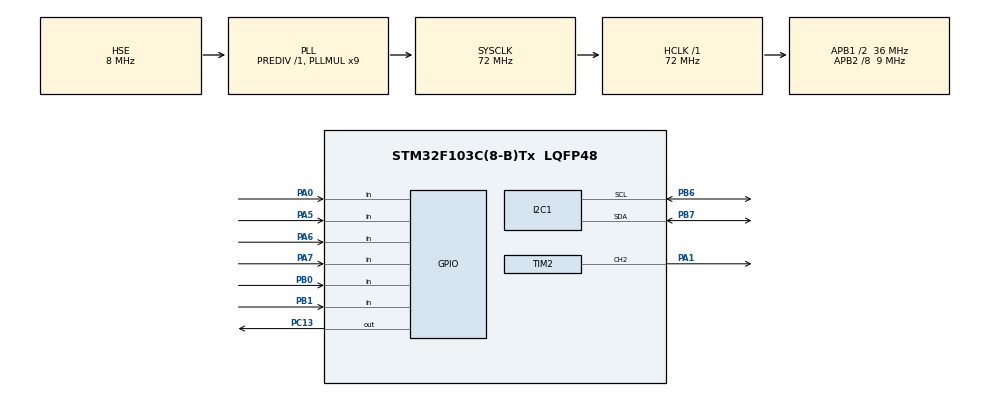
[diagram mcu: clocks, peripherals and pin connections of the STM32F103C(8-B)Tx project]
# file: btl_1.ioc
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I2C1.I2C_Mode=I2C_Fast
Mcu.Family=STM32F1
Mcu.Name=STM32F103C(8-B)Tx
Mcu.Package=LQFP48
NVIC.PriorityGroup=NVIC_PRIORITYGROUP_4
PA0-WKUP.Signal=GPIO_Input
PA1.Signal=S_TIM2_CH2
PA13.Mode=Serial_Wire
PA13.Signal=SYS_JTMS-SWDIO
PA14.Mode=Serial_Wire
PA14.Signal=SYS_JTCK-SWCLK
PA5.Signal=GPIO_Input
PA6.Signal=GPIO_Input
PA7.Signal=GPIO_Input
PB0.Signal=GPIO_Input
PB1.Signal=GPIO_Input
PB6.Mode=I2C
PB6.Signal=I2C1_SCL
PB7.Mode=I2C
PB7.Signal=I2C1_SDA
PC13-TAMPER-RTC.Signal=GPIO_Output
PD0-OSC_IN.Mode=HSE-External-Oscillator
PD0-OSC_IN.Signal=RCC_OSC_IN
PD1-OSC_OUT.Mode=HSE-External-Oscillator
PD1-OSC_OUT.Signal=RCC_OSC_OUT
ProjectManager.HeapSize=0x200
ProjectManager.StackSize=0x400
ProjectManager.TargetToolchain=STM32CubeIDE
RCC.AHBFreq_Value=72000000
RCC.APB1CLKDivider=RCC_HCLK_DIV2
RCC.APB1Freq_Value=36000000
RCC.APB1TimFreq_Value=72000000
RCC.APB2CLKDivider=RCC_HCLK_DIV8
RCC.APB2Freq_Value=9000000
RCC.APB2TimFreq_Value=18000000
RCC.HCLKFreq_Value=72000000
RCC.PLLMUL=RCC_PLL_MUL9
RCC.PLLSourceVirtual=RCC_PLLSOURCE_HSE
RCC.SYSCLKFreq_VALUE=72000000
RCC.SYSCLKSource=RCC_SYSCLKSOURCE_PLLCLK
RCC.USBFreq_Value=72000000
SH.S_TIM2_CH2.0=TIM2_CH2,PWM Generation2 CH2
TIM2.Channel-PWM\ Generation2\ CH2=TIM_CHANNEL_2
TIM2.Period=254
TIM2.Prescaler=429
VP_TIM2_VS_ClockSourceINT.Mode=Internal
board=custom

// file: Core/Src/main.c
/* USER CODE BEGIN Header */
/**
  ******************************************************************************
  * @file           : main.c
  * @brief          : Main program body
  ******************************************************************************
  * @attention
  *
  * Copyright (c) 2023 STMicroelectronics.
  * All rights reserved.
  *
  * This software is licensed under terms that can be found in the LICENSE file
  * in the root directory of this software component.
  * If no LICENSE file comes with this software, it is provided AS-IS.
  *
  ******************************************************************************
  */
/* USER CODE END Header */
#include "main.h"
#include "fonts.h"
#include "ssd1306.h"

/* USER CODE BEGIN PTD */
char scoreText[10];
const short MARGIN_TOP = 2;
const short MARGIN_LEFT = 1;
const short SIZE = 4;
const short TYPES = 6;
short pieceX, pieceY;
short piece[2][4];
int interval = 500, score;
/* USER CODE END Includes */
int gameplay = 1;
uint32_t timer,delayer;
uint8_t b1, b2, b3;
uint16_t currentType, nextType, rotation;
uint8_t deepSleepFlag = 0;
uint8_t grid[25][12];

const char mantex_logo [] = {
		0xff, 0xff, 0xff, 0xff, 0xff, 0xff, 0xff, 0xff, 0xff, 0xff, 0xff, 0xff, 0xff, 0xff, 0xff, 0xff,
		0xc0, 0xff, 0xff, 0xff, 0xe0, 0x00, 0x00, 0x00, 0x00, 0x00, 0x00, 0x00, 0x00, 0x00, 0x7f, 0xff,
		0xff, 0xc0, 0xff, 0xff, 0xf8, 0x00, 0x00, 0x00, 0x00, 0x00, 0x00, 0x00, 0x00, 0x00, 0x00, 0x01,
		0xff, 0xff, 0xc0, 0xff, 0xff, 0xe0, 0x00, 0x00, 0x00, 0x00, 0x00, 0x00, 0x00, 0x00, 0x00, 0x00,
		0x00, 0x3f, 0xff, 0xc0, 0xff, 0xff, 0x00, 0x00, 0x00, 0x00, 0x00, 0x00, 0x00, 0x00, 0x00, 0x00,
		0x00, 0x00, 0x07, 0xff, 0xc0, 0xff, 0xfc, 0x00, 0x00, 0x00, 0x00, 0x00, 0x00, 0x00, 0x00, 0x00,
		0x00, 0x00, 0x00, 0x01, 0xff, 0xc0, 0xff, 0x00, 0x00, 0x00, 0x00, 0x00, 0x00, 0x00, 0x00, 0x00,
		0x00, 0x00, 0x00, 0x00, 0x00, 0x0f, 0xc0, 0xfe, 0x00, 0x00, 0x00, 0x03, 0xf8, 0x1f, 0xfc, 0x7f,
		0xe3, 0xff, 0x3f, 0xf8, 0x00, 0x00, 0x0f, 0xc0, 0xfc, 0x00, 0x3f, 0xff, 0xff, 0xf8, 0x1f, 0xfc,
		0x7f, 0xe3, 0xff, 0x3f, 0xf8, 0x00, 0x00, 0x07, 0xc0, 0xfc, 0x00, 0x3f, 0xff, 0xff, 0xf8, 0x1f,
		0xfc, 0x7f, 0xe3, 0xff, 0x3f, 0xf8, 0x00, 0x00, 0x07, 0xc0, 0xfc, 0x00, 0x3f, 0xff, 0xff, 0xf8,
		0x1f, 0xfc, 0xff, 0xe7, 0xff, 0x3f, 0xf8, 0x00, 0x00, 0x03, 0xc0, 0xfc, 0x00, 0x3f, 0xff, 0xff,
		0xf8, 0x1f, 0xf8, 0x00, 0x03, 0xff, 0x1f, 0xf8, 0x00, 0x00, 0x03, 0xc0, 0xfc, 0x00, 0x00, 0x00,
		0x03, 0xf8, 0x00, 0x00, 0x00, 0x00, 0x00, 0x00, 0x00, 0x00, 0x00, 0x01, 0xc0, 0xfc, 0x00, 0x00,
		0x00, 0x03, 0xf8, 0x1f, 0xfc, 0xff, 0xe7, 0xff, 0x3f, 0xf8, 0x00, 0x00, 0x01, 0xc0, 0xfc, 0x00,
		0x00, 0x00, 0x03, 0xf8, 0x1f, 0xfc, 0x7f, 0xe3, 0xff, 0x3f, 0xf8, 0x00, 0x00, 0x01, 0xc0, 0xf8,
		0x00, 0x00, 0x00, 0x00, 0x00, 0x1f, 0xfc, 0x7f, 0xe3, 0xff, 0x3f, 0xf8, 0x00, 0x00, 0x01, 0xc0,
		0xf8, 0x00, 0x0f, 0xff, 0xff, 0xf8, 0x1f, 0xfc, 0x7f, 0xe3, 0xff, 0x3f, 0xf8, 0x00, 0x00, 0x01,
		0xc0, 0xf8, 0x00, 0x1f, 0xff, 0xff, 0xf8, 0x1f, 0xfc, 0x7f, 0xe3, 0xff, 0x3f, 0xf8, 0x00, 0x00,
		0x01, 0xc0, 0xf8, 0x00, 0x3f, 0xff, 0xff, 0xf8, 0x1f, 0xfc, 0xff, 0xe7, 0xff, 0x3f, 0xf8, 0x00,
		0x00, 0x01, 0xc0, 0xf8, 0x00, 0x3f, 0x07, 0xe3, 0xf8, 0x00, 0x00, 0x00, 0x00, 0x00, 0x00, 0x00,
		0x00, 0x00, 0x01, 0xc0, 0xf8, 0x00, 0x3f, 0x01, 0xe3, 0xf8, 0x1f, 0xfc, 0x7f, 0xe3, 0xff, 0x00,
		0x00, 0x00, 0x00, 0x01, 0xc0, 0xf8, 0x00, 0x3f, 0x00, 0x63, 0xf8, 0x1f, 0xfc, 0x7f, 0xe3, 0xff,
		0x00, 0x00, 0x00, 0x00, 0x01, 0xc0, 0xf8, 0x00, 0x3f, 0x00, 0x03, 0xf8, 0x1f, 0xfc, 0x7f, 0xe3,
		0xff, 0x00, 0x00, 0x00, 0x00, 0x01, 0xc0, 0xf8, 0x00, 0x3f, 0x00, 0x03, 0xf8, 0x1f, 0xfc, 0xff,
		0xe3, 0xff, 0x00, 0x00, 0x00, 0x00, 0x01, 0xc0, 0xf8, 0x00, 0x3e, 0x00, 0x00, 0x00, 0x1f, 0xfc,
		0xff, 0xe3, 0xff, 0x00, 0x00, 0x00, 0x00, 0x01, 0xc0, 0xf8, 0x00, 0x30, 0x00, 0x03, 0xf8, 0x00,
		0x00, 0x00, 0x00, 0x00, 0x00, 0x00, 0x00, 0x00, 0x01, 0xc0, 0xf8, 0x00, 0x20, 0x00, 0x03, 0xf8,
		0x1f, 0xfc, 0x00, 0x00, 0x00, 0x00, 0x00, 0x00, 0x00, 0x01, 0xc0, 0xf8, 0x00, 0x00, 0x00, 0x03,
		0xf8, 0x1f, 0xfc, 0x00, 0x00, 0x00, 0x00, 0x00, 0x00, 0x00, 0x01, 0xc0, 0xf8, 0x00, 0x3f, 0xff,
		0xff, 0xf8, 0x1f, 0xfc, 0x00, 0x00, 0x00, 0x00, 0x00, 0x00, 0x00, 0x01, 0xc0, 0xf8, 0x00, 0x3f,
		0xff, 0xff, 0xf8, 0x1f, 0xfc, 0x00, 0x00, 0x00, 0x00, 0x00, 0x00, 0x00, 0x01, 0xc0, 0xf8, 0x00,
		0x3f, 0xff, 0xff, 0xf8, 0x1f, 0xfc, 0x00, 0x00, 0x00, 0x00, 0x00, 0x00, 0x00, 0x01, 0xc0, 0xf8,
		0x00, 0x3f, 0xff, 0xff, 0xf8, 0x1f, 0xfc, 0x00, 0x00, 0x00, 0x00, 0x00, 0x00, 0x00, 0x01, 0xc0,
		0xf8, 0x00, 0x00, 0x00, 0x00, 0x00, 0x00, 0x00, 0x00, 0x00, 0x00, 0x00, 0x00, 0x00, 0x00, 0x01,
		0xc0, 0xf8, 0x00, 0x3f, 0xff, 0xff, 0xf8, 0x00, 0x00, 0x00, 0x00, 0x00, 0x00, 0x00, 0x00, 0x00,
		0x01, 0xc0, 0xf8, 0x00, 0x3f, 0xff, 0xff, 0xf8, 0x00, 0x00, 0x00, 0x00, 0x00, 0x00, 0x00, 0x00,
		0x00, 0x01, 0xc0, 0xf8, 0x00, 0x3f, 0xff, 0xff, 0xf8, 0x00, 0x00, 0x00, 0x00, 0x00, 0x00, 0x00,
		0x00, 0x00, 0x01, 0xc0, 0xf8, 0x00, 0x3f, 0xff, 0xff, 0xf8, 0x00, 0x00, 0x00, 0x00, 0x00, 0x00,
		0x00, 0x00, 0x00, 0x01, 0xc0, 0xf8, 0x00, 0x00, 0x00, 0xc3, 0xf8, 0x00, 0x00, 0x00, 0x00, 0x00,
		0x00, 0x00, 0x00, 0x00, 0x01, 0xc0, 0xf8, 0x00, 0x00, 0x03, 0xf3, 0xf8, 0x00, 0x00, 0x00, 0x00,
		0x00, 0x00, 0x00, 0x00, 0x00, 0x01, 0xc0, 0xf8, 0x00, 0x00, 0x1f, 0xff, 0xf8, 0x10, 0x00, 0x00,
		0x00, 0x00, 0x00, 0x00, 0x00, 0x00, 0x01, 0xc0, 0xf8, 0x00, 0x00, 0xff, 0xff, 0xf8, 0x1f, 0xfc,
		0xff, 0xe3, 0xff, 0x00, 0x00, 0x00, 0x00, 0x01, 0xc0, 0xf8, 0x00, 0x07, 0xff, 0xff, 0xf8, 0x1f,
		0xfc, 0xff, 0xe3, 0xff, 0x00, 0x00, 0x00, 0x00, 0x01, 0xc0, 0xf8, 0x00, 0x0f, 0xff, 0xff, 0xf8,
		0x1f, 0xfc, 0xff, 0xe3, 0xff, 0x00, 0x00, 0x00, 0x00, 0x01, 0xc0, 0xf8, 0x00, 0x3f, 0xfe, 0x1f,
		0xe0, 0x1f, 0xfc, 0xff, 0xe3, 0xff, 0x00, 0x00, 0x00, 0x00, 0x01, 0xc0, 0xf8, 0x00, 0x3f, 0xe0,
		0x00, 0x00, 0x1f, 0xfc, 0xff, 0xe3, 0xff, 0x00, 0x00, 0x00, 0x00, 0x01, 0xc0, 0xf8, 0x00, 0x00,
		0x00, 0x00, 0x00, 0x00, 0x00, 0x00, 0x00, 0x00, 0x00, 0x00, 0x00, 0x00, 0x01, 0xc0, 0xf8, 0x00,
		0x3f, 0xff, 0xff, 0xf8, 0x10, 0x00, 0xff, 0xe0, 0x00, 0x00, 0x00, 0x00, 0x00, 0x01, 0xc0, 0xf8,
		0x00, 0x00, 0x00, 0x00, 0x00, 0x10, 0x00, 0xff, 0xe0, 0x00, 0x00, 0x00, 0x00, 0x00, 0x01, 0xc0,
		0xf8, 0x00, 0x3f, 0x00, 0x1f, 0xe0, 0x10, 0x00, 0xff, 0xe0, 0x00, 0x00, 0x00, 0x00, 0x00, 0x01,
		0xc0, 0xf8, 0x00, 0x3f, 0x00, 0x7f, 0xf8, 0x10, 0x00, 0xff, 0xe0, 0x00, 0x00, 0x00, 0x00, 0x00,
		0x01, 0xc0, 0xfc, 0x00, 0x3f, 0x00, 0xff, 0xf8, 0x1f, 0xf8, 0xff, 0xe0, 0x00, 0x00, 0x00, 0x00,
		0x00, 0x01, 0xc0, 0xfc, 0x00, 0x3f, 0x07, 0xff, 0xf8, 0x00, 0x00, 0x00, 0x00, 0x00, 0x00, 0x00,
		0x00, 0x00, 0x01, 0xc0, 0xfc, 0x00, 0x3f, 0x1f, 0xff, 0xf8, 0x00, 0x00, 0x00, 0x00, 0x00, 0x00,
		0x00, 0x00, 0x00, 0x01, 0xc0, 0xfc, 0x00, 0x3f, 0xff, 0xf3, 0xf8, 0x1f, 0xf8, 0x7f, 0xe3, 0xff,
		0x00, 0x00, 0x00, 0x00, 0x03, 0xc0, 0xfc, 0x00, 0x3f, 0xff, 0x83, 0xf8, 0x10, 0x00, 0x00, 0x00,
		0x01, 0x00, 0x00, 0x00, 0x00, 0x03, 0xc0, 0xfc, 0x00, 0x3f, 0xff, 0x03, 0xf8, 0x10, 0x00, 0x00,
		0x00, 0x01, 0x00, 0x00, 0x00, 0x00, 0x07, 0xc0, 0xfc, 0x00, 0x1f, 0xfc, 0x00, 0xf8, 0x10, 0x00,
		0x00, 0x00, 0x01, 0x00, 0x00, 0x00, 0x00, 0x0f, 0xc0, 0xfe, 0x00, 0x0f, 0xf0, 0x00, 0x18, 0x10,
		0x00, 0x00, 0x00, 0x01, 0x00, 0x00, 0x00, 0x00, 0x0f, 0xc0, 0xff, 0x00, 0x00, 0x00, 0x00, 0x00,
		0x00, 0x00, 0x00, 0x00, 0x00, 0x00, 0x00, 0x00, 0x00, 0x0f, 0xc0, 0xff, 0xfe, 0x00, 0x00, 0x00,
		0x00, 0x00, 0x00, 0x00, 0x00, 0x00, 0x00, 0x00, 0x00, 0x03, 0xff, 0xc0, 0xff, 0xff, 0x80, 0x00,
		0x00, 0x00, 0x00, 0x00, 0x00, 0x00, 0x00, 0x00, 0x00, 0x00, 0x1f, 0xff, 0xc0, 0xff, 0xff, 0xe0,
		0x00, 0x00, 0x00, 0x00, 0x00, 0x00, 0x00, 0x00, 0x00, 0x00, 0x00, 0xff, 0xff, 0xc0, 0xff, 0xff,
		0xfe, 0x00, 0x00, 0x00, 0x00, 0x00, 0x00, 0x00, 0x00, 0x00, 0x00, 0x07, 0xff, 0xff, 0xc0, 0xff,
		0xff, 0xff, 0xff, 0xff, 0xff, 0xff, 0xff, 0xff, 0xff, 0xff, 0xff, 0xff, 0xff, 0xff, 0xff, 0xc0,
		0xff, 0xff, 0xff, 0xff, 0xff, 0xff, 0xff, 0xff, 0xff, 0xff, 0xff, 0xff, 0xff, 0xff, 0xff, 0xff,
		0xc0
	};

const char pieces_S_l[2][2][4] = {{
                                    {0, 0, 1, 1}, {0, 1, 1, 2}
                                   },
                                   {
                                    {0, 1, 1, 2}, {1, 1, 0, 0}
                                   }};
const char pieces_S_r[2][2][4]={{
                                  {1, 1, 0, 0}, {0, 1, 1, 2}
                                 },
                                 {
                                  {0, 1, 1, 2}, {0, 0, 1, 1}
                                 }};

const char pieces_L_l[4][2][4] = {{
                                  {0, 0, 0, 1}, {0, 1, 2, 2}
                                 },
                                 {
                                  {0, 1, 2, 2}, {1, 1, 1, 0}
                                 },
                                 {
                                  {0, 1, 1, 1}, {0, 0, 1, 2}
                                 },
                                 {
                                  {0, 0, 1, 2}, {1, 0, 0, 0}
                                 }};
const char pieces_Sq[1][2][4] = {{
                                  {0, 1, 0, 1}, {0, 0, 1, 1}
                                 }};
const char pieces_T[4][2][4] = {{
                                  {0, 0, 1, 0},{0, 1, 1, 2}
                                 },
                                 {
                                  {0, 1, 1, 2},{1, 0, 1, 1}
                                 },
                                 {
                                  {1, 0, 1, 1},{0, 1, 1, 2}
                                 },
                                 {
                                  {0, 1, 1, 2},{0, 0, 1, 0}
                                 }};
const char pieces_l[2][2][4] = {{
                                  {0, 1, 2, 3}, {0, 0, 0, 0}
                                 },
                                 {
                                  {0, 0, 0, 0}, {0, 1, 2, 3}
                                 }};

void copyPiece(short piece[2][4], short type, short rotation){
  switch(type){
  case 0: //L_l
    for(short i = 0; i < 4; i++){
      piece[0][i] = pieces_L_l[rotation][0][i];
      piece[1][i] = pieces_L_l[rotation][1][i];
    }
    break;
   case 1: //S_l
    for(short i = 0; i < 4; i++){
      piece[0][i] = pieces_S_l[rotation][0][i];
      piece[1][i] = pieces_S_l[rotation][1][i];
    }
    break;
   case 2: //S_r
    for(short i = 0; i < 4; i++){
      piece[0][i] = pieces_S_r[rotation][0][i];
      piece[1][i] = pieces_S_r[rotation][1][i];
    }
    break;
   case 3: //Sq
    for(short i = 0; i < 4; i++){
      piece[0][i] = pieces_Sq[0][0][i];
      piece[1][i] = pieces_Sq[0][1][i];
    }
    break;
    case 4: //T
    for(short i = 0; i < 4; i++){
      piece[0][i] = pieces_T[rotation][0][i];
      piece[1][i] = pieces_T[rotation][1][i];
    }
    break;
    case 5: //l
    for(short i = 0; i < 4; i++){
      piece[0][i] = pieces_l[rotation][0][i];
      piece[1][i] = pieces_l[rotation][1][i];
    }
    break;
  }
}
void drawLayout(){
	SSD1306_DrawLine(110, 0, 110, SSD1306_HEIGHT, SSD1306_COLOR_WHITE);
	SSD1306_DrawRectangle(0, 0, SSD1306_WIDTH, SSD1306_HEIGHT, SSD1306_COLOR_WHITE);
	drawNextPiece();

}
void drawPiece(short type, short rotation, short x, short y){
  for(short i = 0; i < 4; i++)
	  SSD1306_DrawFilledRectangle(MARGIN_LEFT + (SIZE + 1)*(x + piece[0][i]), MARGIN_TOP + (SIZE + 1)*(y + piece[1][i]), SIZE, SIZE, SSD1306_COLOR_WHITE);
}
void drawGrid(){
  for(short x = 0; x < 25; x++)
    for(short y = 0; y < 12; y++)
      if(grid[x][y])
    	  SSD1306_DrawFilledRectangle(MARGIN_LEFT + (SIZE + 1)*x, MARGIN_TOP + (SIZE + 1)*y, SIZE, SIZE, SSD1306_COLOR_WHITE);
}
void drawNextPiece(){
  short nPiece[2][4];
  copyPiece(nPiece, nextType, 0);
  for(short i = 0; i < 4; i++)
	  SSD1306_DrawFilledRectangle(112 + 3*nPiece[0][i], 8 + 3*nPiece[1][i], 3, 3, SSD1306_COLOR_WHITE);
}
void refresh(){
	SSD1306_Fill(0);
    drawLayout();
    drawGrid();
    drawPiece(currentType, 0, pieceX, pieceY);
    SSD1306_UpdateScreen();
}
void generate(){
  currentType = nextType;
  nextType = customRandom();
  if(currentType != 5)
    pieceY = customRandomd();
  else
	  pieceY = customRandomd();
  pieceX = 18;
  rotation = 0;
  copyPiece(piece, currentType, rotation);
}
int customRandom() {
    uint32_t tick = HAL_GetTick();
    return (uint16_t)((tick / 1000) % 6);
}
int customRandomd() {
    uint32_t tick = HAL_GetTick();
    return (uint16_t)((tick / 1000) % 9);
}
int nextHorizontalCollision(short piece[2][4], int amount){
  for(short i = 0; i < 4; i++){
    short newX = pieceX + piece[0][i] + amount;
    short newY = pieceY + piece[1][i];
    if(grid[newX][newY]|| newY<=-1)
      return 1;
  }
  return 0;
}
int nextCollision() {
  for (short i = 0; i < 4; i++) {
    short y = pieceY + piece[1][i];
    short x =  pieceX + piece[0][i]-1;
    if (x < 0 || grid[x][y]) {
      return 1; // true
    }
  }
  return 0; // false
}
short getMaxRotation(short type){
  if(type == 1 || type == 2 || type == 5)
    return 2;
  else if(type == 0 || type == 4)
    return 4;
  else if(type == 3)
    return 1;
  else
    return 0;
}
int canRotate(short rotation){
  short piece[2][4];
  copyPiece(piece, currentType, rotation);
  return !nextHorizontalCollision(piece, 0);
}
void checkLines(){
  int full;
  for(short x = 19; x >= 0; x--){
    full = 1;
    for(short y = 0; y < 12; y++){
      full = full && grid[x][y];
    }
    if(full==1){
		breakLine(x);
		x--;
    }
  }
}
void hiendiem (int number) {
		SSD1306_Clear();
		SSD1306_GotoXY (0,20);
		SSD1306_Puts ("Score: ", &Font_11x18, 1);
		SSD1306_GotoXY (70, 20);
		char string[20];
		snprintf(string, sizeof(string), "%d", number);
		SSD1306_Puts (string, &Font_11x18, 1);
		SSD1306_GotoXY (0,0);
		SSD1306_Puts ("GAME", &Font_11x18, 1);
		SSD1306_GotoXY (50, 0);
		SSD1306_Puts ("OVER ", &Font_11x18, 1);
		SSD1306_UpdateScreen();
}

void breakLine(short line){
	for(short y = 0; y < 12; y++)
	{
		grid[y][0] = 0;
	}
	for (int x = line + 1; x < 20; x++)
	{
		for (char y = 2; y < 12; y++)
		{
		 if (grid[x][y]) grid[x-1][y] = 1;
		   else grid[x-1][y] = 0;
		}
	}
	  SSD1306_InvertDisplay(1);
	  SSD1306_InvertDisplay(0);
	  score = score + 10;
}
int checkCollision() {
	  for (int y = 0; y < 12; y++) {
	    if (grid[18][y] == 1) {
	      // Phát hiện một khối chạm lưới ở trên
	      return 1;
	    }
	  }
	  return 0;
	}
void restartGame() {
    // Khởi tạo lại các biến cần thiết
    score = 0;
    for (short x = 0; x < 25; x++)
        for (short y = 0; y < 13; y++)
            grid[x][y] = 0;
    generate();
    gameplay = 1;
}

/* USER CODE END PTD */

I2C_HandleTypeDef hi2c1;

TIM_HandleTypeDef htim2;

void SystemClock_Config(void);
static void MX_GPIO_Init(void);
static void MX_I2C1_Init(void);
static void MX_TIM2_Init(void);

int main(void)
{

  /* MCU Configuration--------------------------------------------------------*/

  /* Reset of all peripherals, Initializes the Flash interface and the Systick. */
  HAL_Init();

  /* Configure the system clock */
  SystemClock_Config();

  /* Initialize all configured peripherals */
  MX_GPIO_Init();
  MX_I2C1_Init();
  MX_TIM2_Init();
  /* USER CODE BEGIN 2 */
  timer = HAL_GetTick();
  HAL_TIM_PWM_Start(&htim2, TIM_CHANNEL_2);
  SSD1306_Clear();
  SSD1306_Init();
  SSD1306_DrawBitmap(0,0,mantex_logo, 130, 65,SSD1306_COLOR_WHITE);
  SSD1306_UpdateScreen();
  HAL_Delay(10000);
  SSD1306_Clear();
  drawLayout();
  nextType = customRandom();
  generate();
  HAL_TIM_PWM_Start(&htim2, TIM_CHANNEL_2);
  /* USER CODE END 2 */

  /* Infinite loop */
  /* USER CODE BEGIN WHILE */
  while (1)
  {

	  if(HAL_GetTick()-timer>interval)
	  {
		__HAL_TIM_SET_AUTORELOAD(&htim2, 0);
		__HAL_TIM_SET_COMPARE(&htim2, TIM_CHANNEL_2, 0);
		if (checkCollision())
		{
		    int x;
		    for(x = 6; x < 8; x = x + 1)
		    {
		        __HAL_TIM_SET_AUTORELOAD(&htim2, x * 70);
		        __HAL_TIM_SET_COMPARE(&htim2, TIM_CHANNEL_2, x * 60);
		        HAL_Delay(300);
		    }
		// Kết thúc trò chơi
		      hiendiem(score) ;
		      HAL_Delay (5000);
		      restartGame();
		      SSD1306_Clear();
		      SSD1306_DrawBitmap(0,0,mantex_logo, 130, 65,SSD1306_COLOR_WHITE);
		      SSD1306_UpdateScreen();
		      HAL_Delay(2000);
		      SSD1306_Clear();
		}
		else
		{
			checkLines();
			refresh();
			if(nextCollision()==1)
			{
			for(short i = 0; i < 4; i++)
			grid[pieceX + piece[0][i]][pieceY + piece[1][i]] = 1;
			generate();
			}
			else
			pieceX--;
			timer = HAL_GetTick();
		}
	  }
	  if (HAL_GPIO_ReadPin(GPIOA, GPIO_PIN_0) == GPIO_PIN_SET)
	  {
		  if (deepSleepFlag == 0)
		  {
			SSD1306_Clear();
			// Chuyển vào chế độ deep sleep
			HAL_GPIO_WritePin(GPIOC, GPIO_PIN_13, 1);
			HAL_SuspendTick();
			HAL_PWR_EnterSLEEPMode(PWR_MAINREGULATOR_ON, PWR_SLEEPENTRY_WFI);
			HAL_ResumeTick();
			deepSleepFlag = 1;
		  }
		  else
		  {
			HAL_GPIO_WritePin(GPIOC, GPIO_PIN_13, 0);
			deepSleepFlag = 0;
		  }
	  }

	  if(HAL_GPIO_ReadPin(GPIOB, GPIO_PIN_1)==GPIO_PIN_SET)
	  {
		if(b1==1)
		{
			if(!nextHorizontalCollision(piece, -1))
			{
			    int x;
			    for(x = 4; x < 5; x = x + 1)
			    {
			        __HAL_TIM_SET_AUTORELOAD(&htim2, x * 70);
			        __HAL_TIM_SET_COMPARE(&htim2, TIM_CHANNEL_2, x * 60);
			        HAL_Delay(10);
			    }
				if (pieceY>0){
					pieceY--;
				refresh();
				}
				else
					refresh();
			}
		b1 = 0;
		}
	  }
	  else
	  {
		b1 = 1;
	  }

	  if(HAL_GPIO_ReadPin(GPIOB, GPIO_PIN_0)==GPIO_PIN_SET)
	  {
		if(b2==1)
		{
			if(!nextHorizontalCollision(piece, 1))
			{
			    int x;
			    for(x = 4; x < 5; x = x + 1)
			    {
			        __HAL_TIM_SET_AUTORELOAD(&htim2, x * 70);
			        __HAL_TIM_SET_COMPARE(&htim2, TIM_CHANNEL_2, x * 60);
			        HAL_Delay(10);
			    }
				if (pieceY<11){
				pieceY++;
				refresh();
				}
				else
				refresh();
			}
		b2 = 0;
		}
	  }
	  else
	  {
		b2 = 1;
	  }
//	  if(HAL_GPIO_ReadPin(GPIOA, GPIO_PIN_7)==GPIO_PIN_SET)
//	  {
//	    int x;
//	    for(x = 4; x < 5; x = x + 1)
//	    {
//	        __HAL_TIM_SET_AUTORELOAD(&htim2, x * 70);
//	        __HAL_TIM_SET_COMPARE(&htim2, TIM_CHANNEL_2, x * 60);
//	        HAL_Delay(10);
//	    }
//	    interval = 20;
//	  }
//	  else
//	  {
//	    interval = 500;
//	  }
	  if(HAL_GPIO_ReadPin(GPIOA, GPIO_PIN_6)==GPIO_PIN_SET){
	    if(b3==1){
		    int x;
		    for(x = 4; x < 5; x = x + 1)
		    {
		        __HAL_TIM_SET_AUTORELOAD(&htim2, x * 70);
		        __HAL_TIM_SET_COMPARE(&htim2, TIM_CHANNEL_2, x * 60);
		        HAL_Delay(10);
		    }
	      if(rotation == getMaxRotation(currentType) - 1 && canRotate(0)){
	        rotation = 0;
	      }else if(canRotate(rotation + 1)){
	        rotation++;
	      }
	      copyPiece(piece, currentType, rotation);
	      refresh();
	      b3 = 0;
	      timer = HAL_GetTick();
	    }
	  }else if(HAL_GetTick() - delayer > 50){
	    b3 = 1;
	  }
    /* USER CODE END WHILE */

  }
}

void SystemClock_Config(void)
{
  RCC_OscInitTypeDef RCC_OscInitStruct = {0};
  RCC_ClkInitTypeDef RCC_ClkInitStruct = {0};

  /** Initializes the RCC Oscillators according to the specified parameters
  * in the RCC_OscInitTypeDef structure.
  */
  RCC_OscInitStruct.OscillatorType = RCC_OSCILLATORTYPE_HSE;
  RCC_OscInitStruct.HSEState = RCC_HSE_ON;
  RCC_OscInitStruct.HSEPredivValue = RCC_HSE_PREDIV_DIV1;
  RCC_OscInitStruct.HSIState = RCC_HSI_ON;
  RCC_OscInitStruct.PLL.PLLState = RCC_PLL_ON;
  RCC_OscInitStruct.PLL.PLLSource = RCC_PLLSOURCE_HSE;
  RCC_OscInitStruct.PLL.PLLMUL = RCC_PLL_MUL9;
  if (HAL_RCC_OscConfig(&RCC_OscInitStruct) != HAL_OK)
  {
    Error_Handler();
  }

  /** Initializes the CPU, AHB and APB buses clocks
  */
  RCC_ClkInitStruct.ClockType = RCC_CLOCKTYPE_HCLK|RCC_CLOCKTYPE_SYSCLK
                              |RCC_CLOCKTYPE_PCLK1|RCC_CLOCKTYPE_PCLK2;
  RCC_ClkInitStruct.SYSCLKSource = RCC_SYSCLKSOURCE_PLLCLK;
  RCC_ClkInitStruct.AHBCLKDivider = RCC_SYSCLK_DIV1;
  RCC_ClkInitStruct.APB1CLKDivider = RCC_HCLK_DIV2;
  RCC_ClkInitStruct.APB2CLKDivider = RCC_HCLK_DIV8;

  if (HAL_RCC_ClockConfig(&RCC_ClkInitStruct, FLASH_LATENCY_2) != HAL_OK)
  {
    Error_Handler();
  }
}

static void MX_I2C1_Init(void)
{

  hi2c1.Instance = I2C1;
  hi2c1.Init.ClockSpeed = 400000;
  hi2c1.Init.DutyCycle = I2C_DUTYCYCLE_2;
  hi2c1.Init.OwnAddress1 = 0;
  hi2c1.Init.AddressingMode = I2C_ADDRESSINGMODE_7BIT;
  hi2c1.Init.DualAddressMode = I2C_DUALADDRESS_DISABLE;
  hi2c1.Init.OwnAddress2 = 0;
  hi2c1.Init.GeneralCallMode = I2C_GENERALCALL_DISABLE;
  hi2c1.Init.NoStretchMode = I2C_NOSTRETCH_DISABLE;
  if (HAL_I2C_Init(&hi2c1) != HAL_OK)
  {
    Error_Handler();
  }

}

static void MX_TIM2_Init(void)
{

  TIM_ClockConfigTypeDef sClockSourceConfig = {0};
  TIM_MasterConfigTypeDef sMasterConfig = {0};
  TIM_OC_InitTypeDef sConfigOC = {0};

  htim2.Instance = TIM2;
  htim2.Init.Prescaler = 429;
  htim2.Init.CounterMode = TIM_COUNTERMODE_UP;
  htim2.Init.Period = 254;
  htim2.Init.ClockDivision = TIM_CLOCKDIVISION_DIV1;
  htim2.Init.AutoReloadPreload = TIM_AUTORELOAD_PRELOAD_DISABLE;
  if (HAL_TIM_Base_Init(&htim2) != HAL_OK)
  {
    Error_Handler();
  }
  sClockSourceConfig.ClockSource = TIM_CLOCKSOURCE_INTERNAL;
  if (HAL_TIM_ConfigClockSource(&htim2, &sClockSourceConfig) != HAL_OK)
  {
    Error_Handler();
  }
  if (HAL_TIM_PWM_Init(&htim2) != HAL_OK)
  {
    Error_Handler();
  }
  sMasterConfig.MasterOutputTrigger = TIM_TRGO_RESET;
  sMasterConfig.MasterSlaveMode = TIM_MASTERSLAVEMODE_DISABLE;
  if (HAL_TIMEx_MasterConfigSynchronization(&htim2, &sMasterConfig) != HAL_OK)
  {
    Error_Handler();
  }
  sConfigOC.OCMode = TIM_OCMODE_PWM1;
  sConfigOC.Pulse = 0;
  sConfigOC.OCPolarity = TIM_OCPOLARITY_HIGH;
  sConfigOC.OCFastMode = TIM_OCFAST_DISABLE;
  if (HAL_TIM_PWM_ConfigChannel(&htim2, &sConfigOC, TIM_CHANNEL_2) != HAL_OK)
  {
    Error_Handler();
  }
  HAL_TIM_MspPostInit(&htim2);

}

static void MX_GPIO_Init(void)
{
  GPIO_InitTypeDef GPIO_InitStruct = {0};

  /* GPIO Ports Clock Enable */
  __HAL_RCC_GPIOC_CLK_ENABLE();
  __HAL_RCC_GPIOD_CLK_ENABLE();
  __HAL_RCC_GPIOA_CLK_ENABLE();
  __HAL_RCC_GPIOB_CLK_ENABLE();

  /*Configure GPIO pin Output Level */
  HAL_GPIO_WritePin(GPIOC, GPIO_PIN_13, GPIO_PIN_RESET);

  /*Configure GPIO pin : PC13 */
  GPIO_InitStruct.Pin = GPIO_PIN_13;
  GPIO_InitStruct.Mode = GPIO_MODE_OUTPUT_PP;
  GPIO_InitStruct.Pull = GPIO_NOPULL;
  GPIO_InitStruct.Speed = GPIO_SPEED_FREQ_LOW;
  HAL_GPIO_Init(GPIOC, &GPIO_InitStruct);

  /*Configure GPIO pins : PA0 PA5 PA6 PA7 */
  GPIO_InitStruct.Pin = GPIO_PIN_0|GPIO_PIN_5|GPIO_PIN_6|GPIO_PIN_7;
  GPIO_InitStruct.Mode = GPIO_MODE_INPUT;
  GPIO_InitStruct.Pull = GPIO_NOPULL;
  HAL_GPIO_Init(GPIOA, &GPIO_InitStruct);

  /*Configure GPIO pins : PB0 PB1 */
  GPIO_InitStruct.Pin = GPIO_PIN_0|GPIO_PIN_1;
  GPIO_InitStruct.Mode = GPIO_MODE_INPUT;
  GPIO_InitStruct.Pull = GPIO_NOPULL;
  HAL_GPIO_Init(GPIOB, &GPIO_InitStruct);

}

void Error_Handler(void)
{
  __disable_irq();
  while (1)
  {
  }
}
